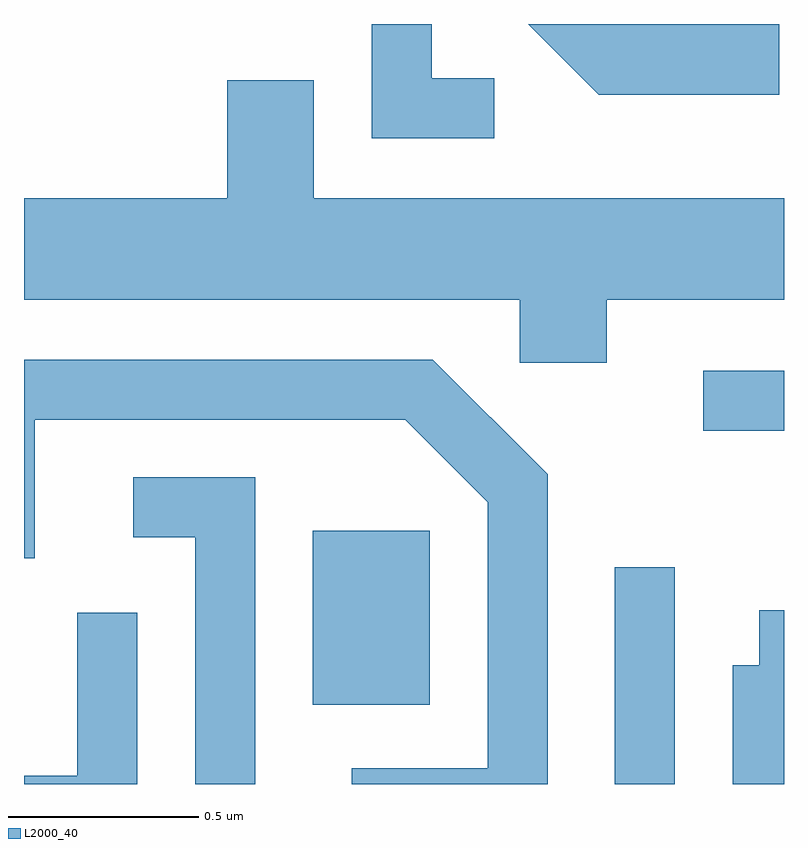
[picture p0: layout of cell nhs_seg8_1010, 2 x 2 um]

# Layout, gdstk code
import gdstk
lib = gdstk.Library(unit=1e-6, precision=1e-09)
def R(c, l, rs):  # rectangles x0, y0, x1, y1
    for r in rs: c.add(gdstk.rectangle(r[:2], r[2:], *l))
def P(c, l, *ps):  # polygons
    for p in ps: c.add(gdstk.Polygon(p, *l))
L2000_40 = (2000, 40)

nhs_seg8_1010 = lib.new_cell('nhs_seg8_1010')
R(nhs_seg8_1010, L2000_40, [(194.166,1857.342,194.324,1857.913), (193.371,1857.551,193.679,1858.009), (194.398,1858.271,194.611,1858.429)])
P(nhs_seg8_1010, L2000_40, [(194.599,1859.342),(193.938,1859.342),(194.124,1859.156),(194.599,1859.156)],
  [(193.848,1859.199),(193.684,1859.199),(193.684,1859.342),(193.526,1859.342),(193.526,1859.041),(193.848,1859.041)],
  [(194.144,1858.616),(194.611,1858.616),(194.611,1858.884),(193.374,1858.884),(193.374,1859.194),(193.146,1859.194),(193.146,1858.884),(192.611,1858.884),(192.611,1858.616),(193.916,1858.616),(193.916,1858.451),(194.144,1858.451)],
  [(193.989,1858.157),(193.687,1858.459),(192.611,1858.459),(192.611,1857.936),(192.639,1857.936),(192.639,1858.301),(193.614,1858.301),(193.831,1858.084),(193.831,1857.384),(193.473,1857.384),(193.473,1857.342),(193.989,1857.342)],
  [(193.219,1858.149),(192.898,1858.149),(192.898,1857.991),(193.061,1857.991),(193.061,1857.342),(193.219,1857.342)],
  [(194.611,1857.799),(194.546,1857.799),(194.546,1857.654),(194.476,1857.654),(194.476,1857.342),(194.611,1857.342)],
  [(192.909,1857.793),(192.751,1857.793),(192.751,1857.364),(192.611,1857.364),(192.611,1857.342),(192.909,1857.342)])

lib.write_gds('nhs_seg8_1010.gds')
